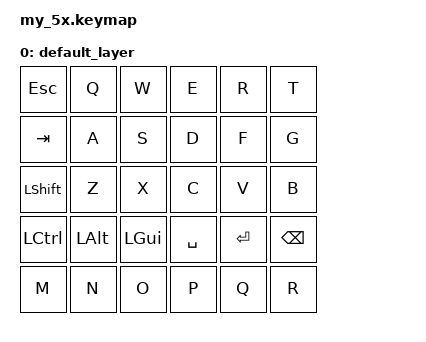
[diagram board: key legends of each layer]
#include <behaviors.dtsi>
#include <dt-bindings/zmk/keys.h>

/ {
    keymap {
        compatible = "zmk,keymap";
        default_layer {
            bindings = <
                &kp ESC   &kp Q &kp W &kp E &kp R &kp T
                &kp TAB   &kp A &kp S &kp D &kp F &kp G
                &kp LSHFT &kp Z &kp X &kp C &kp V &kp B
                &kp LCTRL &kp LALT &kp LGUI &kp SPACE &kp ENTER &kp BKSP
                &kp M     &kp N &kp O &kp P &kp Q     &kp R
            >;
        };
    };
};
